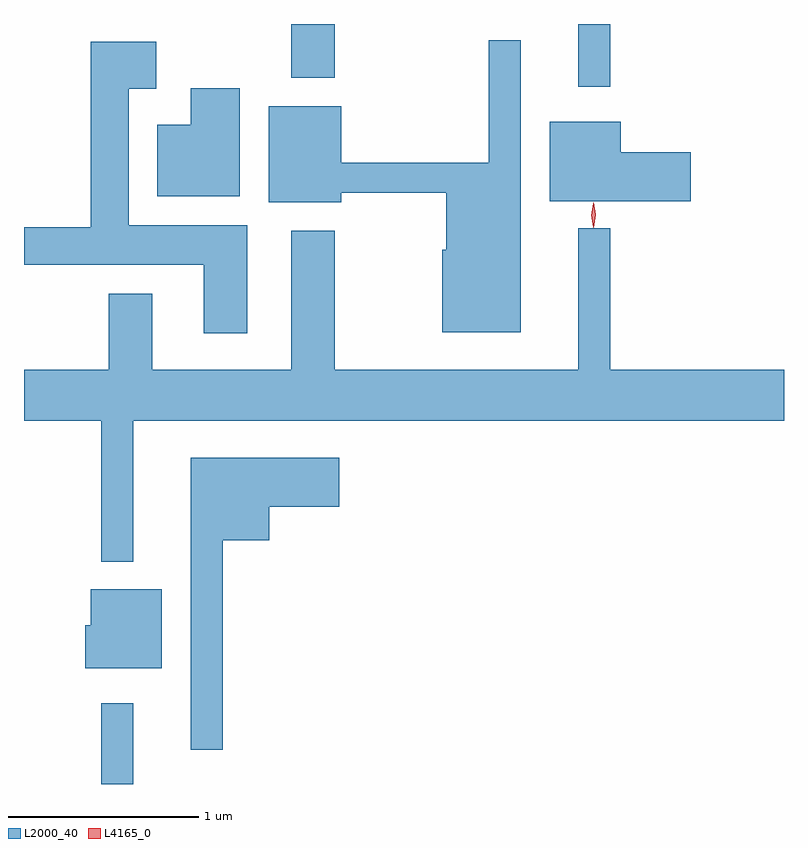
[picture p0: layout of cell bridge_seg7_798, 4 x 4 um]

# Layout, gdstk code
import gdstk
lib = gdstk.Library(unit=1e-6, precision=1e-09)
def R(c, l, rs):  # rectangles x0, y0, x1, y1
    for r in rs: c.add(gdstk.rectangle(r[:2], r[2:], *l))
def P(c, l, *ps):  # polygons
    for p in ps: c.add(gdstk.Polygon(p, *l))
L2000_40 = (2000, 40)
L4165_0 = (4165, 0)

bridge_seg7_798 = lib.new_cell('bridge_seg7_798')
R(bridge_seg7_798, L2000_40, [(276.031,1743.483,276.199,1743.908), (278.541,1747.153,278.709,1747.483), (277.031,1747.201,277.259,1747.483)])
P(bridge_seg7_798, L2000_40, [(278.239,1747.398),(278.071,1747.398),(278.071,1746.754),(277.294,1746.754),(277.294,1747.049),(276.911,1747.049),(276.911,1746.546),(277.294,1746.546),(277.294,1746.596),(277.846,1746.596),(277.846,1746.294),(277.826,1746.294),(277.826,1745.861),(278.239,1745.861)],
  [(276.799,1746.424),(276.174,1746.424),(276.174,1747.141),(276.319,1747.141),(276.319,1747.389),(275.976,1747.389),(275.976,1746.414),(275.624,1746.414),(275.624,1746.216),(276.571,1746.216),(276.571,1745.856),(276.799,1745.856)],
  [(276.759,1747.144),(276.501,1747.144),(276.501,1746.954),(276.326,1746.954),(276.326,1746.576),(276.759,1746.576)],
  [(279.134,1746.809),(278.764,1746.809),(278.764,1746.969),(278.391,1746.969),(278.391,1746.551),(279.134,1746.551)],
  [(276.199,1745.396),(279.624,1745.396),(279.624,1745.664),(278.709,1745.664),(278.709,1746.408),(278.541,1746.408),(278.541,1745.664),(277.259,1745.664),(277.259,1746.394),(277.031,1746.394),(277.031,1745.664),(276.299,1745.664),(276.299,1746.064),(276.071,1746.064),(276.071,1745.664),(275.624,1745.664),(275.624,1745.396),(276.031,1745.396),(276.031,1744.653),(276.199,1744.653)],
  [(276.669,1744.766),(276.914,1744.766),(276.914,1744.941),(277.284,1744.941),(277.284,1745.199),(276.501,1745.199),(276.501,1743.663),(276.669,1743.663)],
  [(276.349,1744.509),(275.976,1744.509),(275.976,1744.319),(275.946,1744.319),(275.946,1744.091),(276.349,1744.091)])
P(bridge_seg7_798, L4165_0, [(278.622,1746.41),(278.613,1746.478),(278.622,1746.545),(278.622,1746.546),(278.623,1746.545),(278.632,1746.478),(278.623,1746.41),(278.623,1746.41)],
  [(278.621,1746.413),(278.62,1746.414),(278.61,1746.476),(278.62,1746.54),(278.62,1746.54),(278.621,1746.54),(278.63,1746.476),(278.621,1746.414)])

lib.write_gds('bridge_seg7_798.gds')
